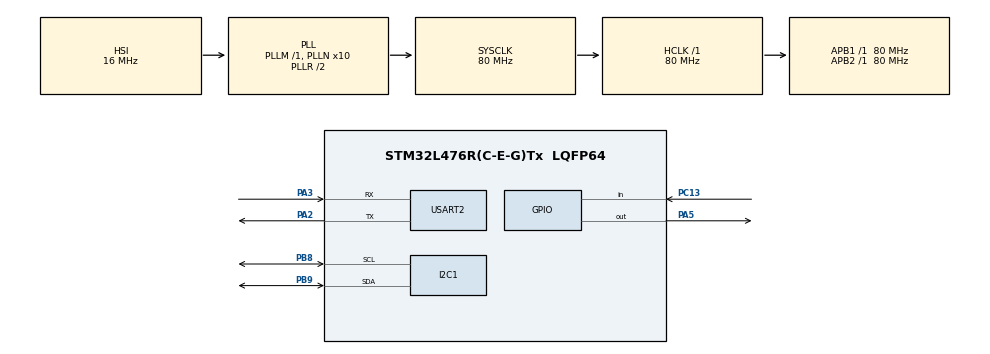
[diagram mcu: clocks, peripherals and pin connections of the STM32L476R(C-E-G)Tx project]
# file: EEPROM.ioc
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I2C1.Timing=0x10909CEC
Mcu.Family=STM32L4
Mcu.Name=STM32L476R(C-E-G)Tx
Mcu.Package=LQFP64
NVIC.PriorityGroup=NVIC_PRIORITYGROUP_4
PA2.Mode=Asynchronous
PA2.Signal=USART2_TX
PA3.Mode=Asynchronous
PA3.Signal=USART2_RX
PA5.Signal=GPIO_Output
PB8.Mode=I2C
PB8.Signal=I2C1_SCL
PB9.Mode=I2C
PB9.Signal=I2C1_SDA
PC13.Signal=GPIO_Input
ProjectManager.HeapSize=0x200
ProjectManager.StackSize=0x400
ProjectManager.TargetToolchain=SW4STM32
RCC.ADCFreq_Value=64000000
RCC.AHBFreq_Value=80000000
RCC.APB1Freq_Value=80000000
RCC.APB1TimFreq_Value=80000000
RCC.APB2Freq_Value=80000000
RCC.APB2TimFreq_Value=80000000
RCC.CortexFreq_Value=80000000
RCC.HCLKFreq_Value=80000000
RCC.HSE_VALUE=8000000
RCC.HSI_VALUE=16000000
RCC.LSE_VALUE=32768
RCC.MSI_VALUE=4000000
RCC.PLLN=10
RCC.PLLSourceVirtual=RCC_PLLSOURCE_HSI
RCC.PREFETCH_ENABLE=1
RCC.SYSCLKFreq_VALUE=80000000
RCC.SYSCLKSource=RCC_SYSCLKSOURCE_PLLCLK
RCC.USBFreq_Value=64000000
RCC.VCOOutputFreq_Value=160000000
USART2.VirtualMode-Asynchronous=VM_ASYNC
board=NUCLEO-L476RG

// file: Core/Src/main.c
/* USER CODE BEGIN Header */
/**
  ******************************************************************************
  * @file           : main.c
  * @brief          : Main program body
  ******************************************************************************
  * @attention
  *
  * <h2><center>&copy; Copyright (c) 2022 STMicroelectronics.
  * All rights reserved.</center></h2>
  *
  * This software component is licensed by ST under BSD 3-Clause license,
  * the "License"; You may not use this file except in compliance with the
  * License. You may obtain a copy of the License at:
  *                        opensource.org/licenses/BSD-3-Clause
  *
  ******************************************************************************
  */
/* USER CODE END Header */
#include "main.h"

/* USER CODE BEGIN Includes */
#include "eeprom.h"

/* USER CODE END Includes */

/* USER CODE BEGIN PM */

	uint16_t addrPointer1 = 0x0000;
	uint16_t addrPointer2 = 0x0001;
	uint16_t addrPointer3 = 0x0002;
	uint16_t addrPointer4 = 0x0003;
	uint16_t addrPointer5 = 0x0004;
	uint16_t addrPointer6 = 0x0005;
	uint16_t addrPointer7 = 0x0006;
	uint16_t addrPointer8 = 0x0007;
	uint16_t addrPointer9 = 0x0008;
	uint16_t addrPointer10 = 0x0009;
	uint16_t addrPointer11= 0x000A;
	uint16_t addrPointer12 = 0x000B;
	uint8_t eepromData = 0x22;

/* USER CODE END PM */

I2C_HandleTypeDef hi2c1;

UART_HandleTypeDef huart2;

void SystemClock_Config(void);
static void MX_GPIO_Init(void);
static void MX_I2C1_Init(void);
static void MX_USART2_UART_Init(void);

int main(void)
{

  /* MCU Configuration--------------------------------------------------------*/

  /* Reset of all peripherals, Initializes the Flash interface and the Systick. */
  HAL_Init();

  /* Configure the system clock */
  SystemClock_Config();

  /* Initialize all configured peripherals */
  MX_GPIO_Init();
  MX_I2C1_Init();
  MX_USART2_UART_Init();
  /* USER CODE BEGIN 2 */

  //eeprom_Write(addrPointer1,eepromData);
  /* USER CODE END 2 */

  /* Infinite loop */
  /* USER CODE BEGIN WHILE */
  while (1)
  {
	  WriteArray();
	  HAL_Delay(10);
	  /*
	  eeprom_Read(addrPointer1);
	  HAL_Delay(10);
	  eeprom_Read(addrPointer2);
	  HAL_Delay(10);
	  eeprom_Read(addrPointer3);
	  HAL_Delay(10);
	  eeprom_Read(addrPointer4);
	  HAL_Delay(10);
	  eeprom_Read(addrPointer5);
	  HAL_Delay(10);
	  eeprom_Read(addrPointer6);
	  HAL_Delay(10);
	  eeprom_Read(addrPointer7);
	  HAL_Delay(10);
	  eeprom_Read(addrPointer8);
	  HAL_Delay(10);
	  eeprom_Read(addrPointer9);
	  HAL_Delay(10);
	  eeprom_Read(addrPointer10);
	  HAL_Delay(10);
	  eeprom_Read(addrPointer11);
	  HAL_Delay(10);
	  eeprom_Read(addrPointer12);

	  */
	  if (HAL_GPIO_ReadPin(GPIOC,GPIO_PIN_13) == 0){

		  readMemory();
	  }
	  HAL_Delay(100);

    /* USER CODE END WHILE */

  }
}

void SystemClock_Config(void)
{
  RCC_OscInitTypeDef RCC_OscInitStruct = {0};
  RCC_ClkInitTypeDef RCC_ClkInitStruct = {0};
  RCC_PeriphCLKInitTypeDef PeriphClkInit = {0};

  /** Initializes the RCC Oscillators according to the specified parameters
  * in the RCC_OscInitTypeDef structure.
  */
  RCC_OscInitStruct.OscillatorType = RCC_OSCILLATORTYPE_HSI;
  RCC_OscInitStruct.HSIState = RCC_HSI_ON;
  RCC_OscInitStruct.HSICalibrationValue = RCC_HSICALIBRATION_DEFAULT;
  RCC_OscInitStruct.PLL.PLLState = RCC_PLL_ON;
  RCC_OscInitStruct.PLL.PLLSource = RCC_PLLSOURCE_HSI;
  RCC_OscInitStruct.PLL.PLLM = 1;
  RCC_OscInitStruct.PLL.PLLN = 10;
  RCC_OscInitStruct.PLL.PLLP = RCC_PLLP_DIV7;
  RCC_OscInitStruct.PLL.PLLQ = RCC_PLLQ_DIV2;
  RCC_OscInitStruct.PLL.PLLR = RCC_PLLR_DIV2;
  if (HAL_RCC_OscConfig(&RCC_OscInitStruct) != HAL_OK)
  {
    Error_Handler();
  }
  /** Initializes the CPU, AHB and APB buses clocks
  */
  RCC_ClkInitStruct.ClockType = RCC_CLOCKTYPE_HCLK|RCC_CLOCKTYPE_SYSCLK
                              |RCC_CLOCKTYPE_PCLK1|RCC_CLOCKTYPE_PCLK2;
  RCC_ClkInitStruct.SYSCLKSource = RCC_SYSCLKSOURCE_PLLCLK;
  RCC_ClkInitStruct.AHBCLKDivider = RCC_SYSCLK_DIV1;
  RCC_ClkInitStruct.APB1CLKDivider = RCC_HCLK_DIV1;
  RCC_ClkInitStruct.APB2CLKDivider = RCC_HCLK_DIV1;

  if (HAL_RCC_ClockConfig(&RCC_ClkInitStruct, FLASH_LATENCY_4) != HAL_OK)
  {
    Error_Handler();
  }
  PeriphClkInit.PeriphClockSelection = RCC_PERIPHCLK_USART2|RCC_PERIPHCLK_I2C1;
  PeriphClkInit.Usart2ClockSelection = RCC_USART2CLKSOURCE_PCLK1;
  PeriphClkInit.I2c1ClockSelection = RCC_I2C1CLKSOURCE_PCLK1;
  if (HAL_RCCEx_PeriphCLKConfig(&PeriphClkInit) != HAL_OK)
  {
    Error_Handler();
  }
  /** Configure the main internal regulator output voltage
  */
  if (HAL_PWREx_ControlVoltageScaling(PWR_REGULATOR_VOLTAGE_SCALE1) != HAL_OK)
  {
    Error_Handler();
  }
}

static void MX_I2C1_Init(void)
{

  hi2c1.Instance = I2C1;
  hi2c1.Init.Timing = 0x10909CEC;
  hi2c1.Init.OwnAddress1 = 0;
  hi2c1.Init.AddressingMode = I2C_ADDRESSINGMODE_7BIT;
  hi2c1.Init.DualAddressMode = I2C_DUALADDRESS_DISABLE;
  hi2c1.Init.OwnAddress2 = 0;
  hi2c1.Init.OwnAddress2Masks = I2C_OA2_NOMASK;
  hi2c1.Init.GeneralCallMode = I2C_GENERALCALL_DISABLE;
  hi2c1.Init.NoStretchMode = I2C_NOSTRETCH_DISABLE;
  if (HAL_I2C_Init(&hi2c1) != HAL_OK)
  {
    Error_Handler();
  }
  /** Configure Analogue filter
  */
  if (HAL_I2CEx_ConfigAnalogFilter(&hi2c1, I2C_ANALOGFILTER_ENABLE) != HAL_OK)
  {
    Error_Handler();
  }
  /** Configure Digital filter
  */
  if (HAL_I2CEx_ConfigDigitalFilter(&hi2c1, 0) != HAL_OK)
  {
    Error_Handler();
  }

}

static void MX_USART2_UART_Init(void)
{

  huart2.Instance = USART2;
  huart2.Init.BaudRate = 115200;
  huart2.Init.WordLength = UART_WORDLENGTH_8B;
  huart2.Init.StopBits = UART_STOPBITS_1;
  huart2.Init.Parity = UART_PARITY_NONE;
  huart2.Init.Mode = UART_MODE_TX_RX;
  huart2.Init.HwFlowCtl = UART_HWCONTROL_NONE;
  huart2.Init.OverSampling = UART_OVERSAMPLING_16;
  huart2.Init.OneBitSampling = UART_ONE_BIT_SAMPLE_DISABLE;
  huart2.AdvancedInit.AdvFeatureInit = UART_ADVFEATURE_NO_INIT;
  if (HAL_UART_Init(&huart2) != HAL_OK)
  {
    Error_Handler();
  }

}

static void MX_GPIO_Init(void)
{
  GPIO_InitTypeDef GPIO_InitStruct = {0};

  /* GPIO Ports Clock Enable */
  __HAL_RCC_GPIOC_CLK_ENABLE();
  __HAL_RCC_GPIOA_CLK_ENABLE();
  __HAL_RCC_GPIOB_CLK_ENABLE();

  /*Configure GPIO pin Output Level */
  HAL_GPIO_WritePin(GPIOA, GPIO_PIN_5, GPIO_PIN_RESET);

  /*Configure GPIO pin : PC13 */
  GPIO_InitStruct.Pin = GPIO_PIN_13;
  GPIO_InitStruct.Mode = GPIO_MODE_INPUT;
  GPIO_InitStruct.Pull = GPIO_NOPULL;
  HAL_GPIO_Init(GPIOC, &GPIO_InitStruct);

  /*Configure GPIO pin : PA5 */
  GPIO_InitStruct.Pin = GPIO_PIN_5;
  GPIO_InitStruct.Mode = GPIO_MODE_OUTPUT_PP;
  GPIO_InitStruct.Pull = GPIO_NOPULL;
  GPIO_InitStruct.Speed = GPIO_SPEED_FREQ_LOW;
  HAL_GPIO_Init(GPIOA, &GPIO_InitStruct);

}

void Error_Handler(void)
{
  __disable_irq();
  while (1)
  {
  }
}

/************************ (C) COPYRIGHT STMicroelectronics *****END OF FILE****/
